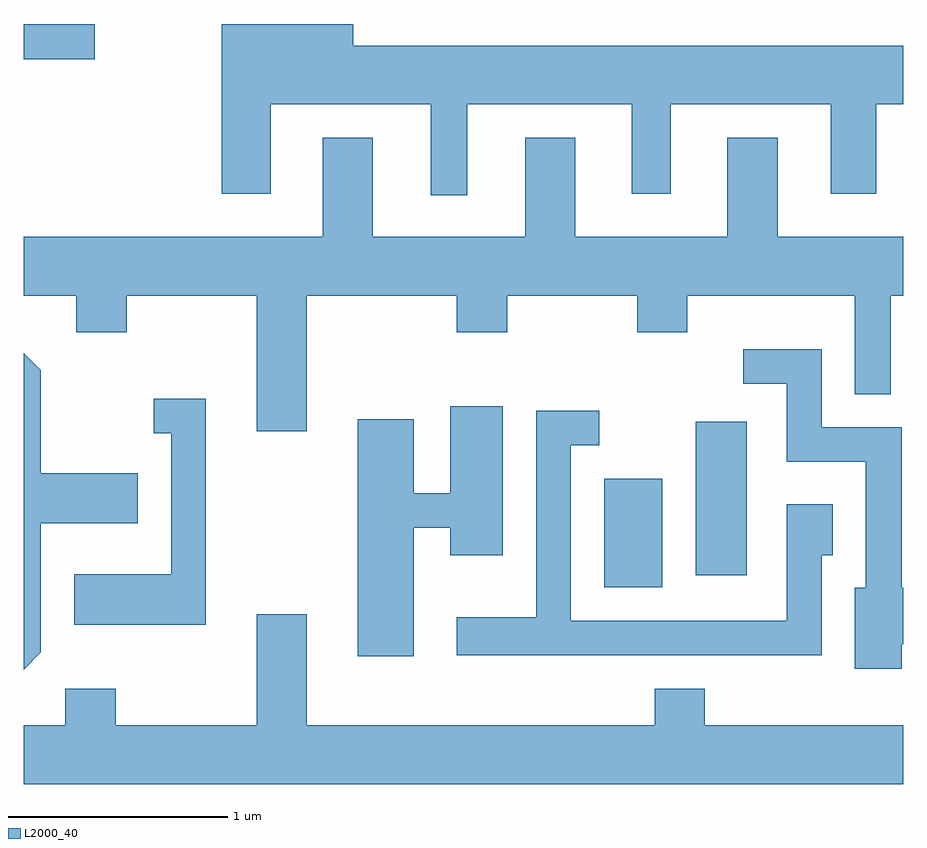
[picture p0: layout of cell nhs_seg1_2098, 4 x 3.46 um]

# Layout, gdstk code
import gdstk
lib = gdstk.Library(unit=1e-6, precision=1e-09)
def R(c, l, rs):  # rectangles x0, y0, x1, y1
    for r in rs: c.add(gdstk.rectangle(r[:2], r[2:], *l))
def P(c, l, *ps):  # polygons
    for p in ps: c.add(gdstk.Polygon(p, *l))
L2000_40 = (2000, 40)

nhs_seg1_2098 = lib.new_cell('nhs_seg1_2098')
R(nhs_seg1_2098, L2000_40, [(252.251,887.151,252.514,887.644), (252.666,887.206,252.899,887.904), (249.611,889.551,249.934,889.712)])
P(nhs_seg1_2098, L2000_40, [(251.629,889.346),(252.376,889.346),(252.376,888.941),(252.554,888.941),(252.554,889.346),(253.281,889.346),(253.281,888.941),(253.489,888.941),(253.489,889.346),(253.611,889.346),(253.611,889.614),(251.109,889.614),(251.109,889.712),(250.511,889.712),(250.511,888.941),(250.734,888.941),(250.734,889.346),(251.461,889.346),(251.461,888.933),(251.629,888.933)],
  [(251.199,889.194),(250.971,889.194),(250.971,888.744),(249.611,888.744),(249.611,888.476),(249.851,888.476),(249.851,888.311),(250.079,888.311),(250.079,888.476),(250.671,888.476),(250.671,887.861),(250.899,887.861),(250.899,888.476),(251.581,888.476),(251.581,888.311),(251.809,888.311),(251.809,888.476),(252.401,888.476),(252.401,888.311),(252.629,888.311),(252.629,888.476),(253.391,888.476),(253.391,888.028),(253.554,888.028),(253.554,888.476),(253.611,888.476),(253.611,888.744),(253.039,888.744),(253.039,889.194),(252.811,889.194),(252.811,888.744),(252.119,888.744),(252.119,889.194),(251.891,889.194),(251.891,888.744),(251.199,888.744)],
  [(253.604,886.891),(253.611,886.891),(253.611,887.149),(253.604,887.149),(253.604,887.879),(253.239,887.879),(253.239,888.234),(252.883,888.234),(252.883,888.076),(253.081,888.076),(253.081,887.721),(253.441,887.721),(253.441,887.149),(253.391,887.149),(253.391,886.781),(253.604,886.781)],
  [(249.689,886.854),(249.689,887.441),(250.129,887.441),(250.129,887.669),(249.689,887.669),(249.689,888.137),(249.611,888.215),(249.611,886.776)],
  [(250.439,888.009),(250.203,888.009),(250.203,887.851),(250.281,887.851),(250.281,887.209),(249.841,887.209),(249.841,886.981),(250.439,886.981)],
  [(251.384,887.421),(251.551,887.421),(251.551,887.296),(251.789,887.296),(251.789,887.974),(251.551,887.974),(251.551,887.579),(251.384,887.579),(251.384,887.914),(251.131,887.914),(251.131,886.836),(251.384,886.836)],
  [(253.239,887.296),(253.289,887.296),(253.289,887.529),(253.081,887.529),(253.081,886.999),(252.099,886.999),(252.099,887.796),(252.228,887.796),(252.228,887.954),(251.941,887.954),(251.941,887.014),(251.581,887.014),(251.581,886.841),(253.239,886.841)],
  [(253.611,886.524),(252.709,886.524),(252.709,886.689),(252.481,886.689),(252.481,886.524),(250.899,886.524),(250.899,887.029),(250.671,887.029),(250.671,886.524),(250.029,886.524),(250.029,886.689),(249.801,886.689),(249.801,886.524),(249.611,886.524),(249.611,886.256),(253.611,886.256)])

lib.write_gds('nhs_seg1_2098.gds')
